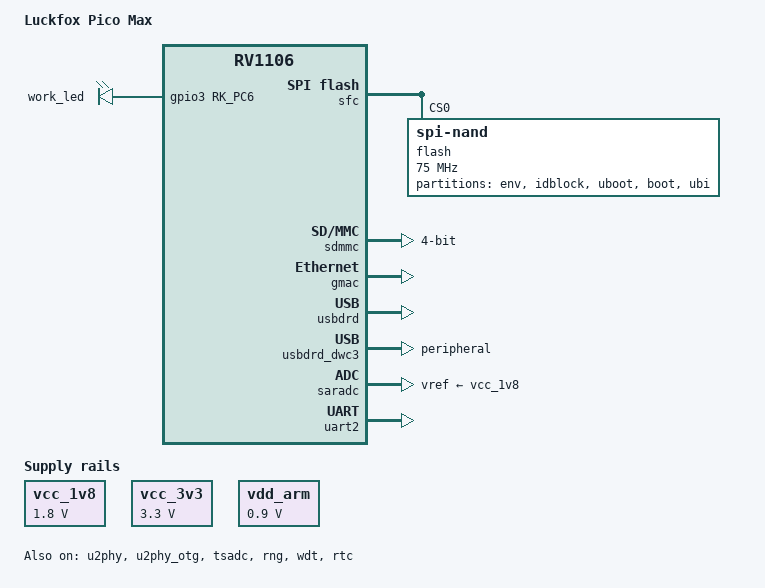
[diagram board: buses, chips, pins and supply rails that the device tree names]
// SPDX-License-Identifier: (GPL-2.0+ OR MIT)
/*
 * Luckfox Pico Max -- RV1106G3, 256MB DDR3L, 256MB SPI NAND.
 *
 * Deliberately lean: this describes the board as a general purpose Linux
 * machine, not as an IP camera. The camera/ISP/encoder half of the SoC is left
 * disabled, which is what rv1106.dtsi already does -- we simply do not include
 * rv1106-evb.dtsi or rv1106-ipc.dtsi, both of which turn it all on and pull in
 * a fixed set of sensors.
 *
 */

/dts-v1/;

#include <dt-bindings/gpio/gpio.h>
#include <dt-bindings/pinctrl/rockchip.h>
#include "rv1106.dtsi"

/ {
	model = "Luckfox Pico Max";
	compatible = "luckfox,pico-max", "rockchip,rv1106g3", "rockchip,rv1106";

	chosen {
		/*
         * sane default for the case
		 * where the DTB is booted by hand.
		 */
		bootargs = "console=ttyS2,115200n8 rootwait";
	};

	vcc_1v8: regulator-vcc-1v8 {
		compatible = "regulator-fixed";
		regulator-name = "vcc_1v8";
		regulator-min-microvolt = <1800000>;
		regulator-max-microvolt = <1800000>;
		regulator-always-on;
		regulator-boot-on;
	};

	vcc_3v3: regulator-vcc-3v3 {
		compatible = "regulator-fixed";
		regulator-name = "vcc_3v3";
		regulator-min-microvolt = <3300000>;
		regulator-max-microvolt = <3300000>;
		regulator-always-on;
		regulator-boot-on;
	};

	/*
	 * VDD_ARM. Rockchip's reference design puts a PWM-controlled buck here
	 * so that DVFS can drop the rail with the frequency and raise it for
	 * the top bins; Luckfox left the buck off the Pico Max and fitted a
	 * fixed 0.9 V supply instead.
	 *
	 * cpufreq still needs a regulator behind cpu-supply -- rockchip-cpufreq
	 * refuses to probe without one -- so describe the rail as what it is.
	 * A regulator-fixed must have min == max in 6.6, otherwise
	 * of_get_fixed_voltage_config() rejects it as "specified with variable
	 * voltages"; Luckfox's own 800000..1000000 node would not probe here.
	 *
	 * The consequence is in &cpu0_opp_table: every OPP above 1.2 GHz wants
	 * more than 0.9 V and there is nothing to raise it with.
	 */
	vdd_arm: regulator-vdd-arm {
		compatible = "regulator-fixed";
		regulator-name = "vdd_arm";
		regulator-min-microvolt = <900000>;
		regulator-max-microvolt = <900000>;
		regulator-always-on;
		regulator-boot-on;
	};

	leds {
		compatible = "gpio-leds";

		work_led: led-0 {
			gpios = <&gpio3 RK_PC6 GPIO_ACTIVE_HIGH>;
			linux,default-trigger = "heartbeat";
			default-state = "on";
			function = "activity";
		};
	};

};

/* ------------------------------------------------------------------ CPU --- */

&cpu0 {
	cpu-supply = <&vdd_arm>;
	/* cpufreq-dt registers the cpufreq cooling device off this. */
	#cooling-cells = <2>;
};

/*
 * rv1106.dtsi carries the SoC's full OPP table, up to 1.608 GHz. Everything
 * from 1.296 GHz up asks for more than the 0.9 V this board's fixed rail
 * supplies, and the OPP core would happily use them anyway: the fallback leg
 * of regulator_set_voltage_triplet() asks for the OPP's u_volt_min (850 mV for
 * every entry in this table), which a fixed 0.9 V rail satisfies. So the only
 * thing keeping the CPU inside its voltage/frequency envelope is the table
 * itself. Stop at 1.2 GHz, the fastest OPP that runs at 850 mV.
 *
 * The pvtpll properties go with them. PVTPLL calibration walks the rail up and
 * down in 12.5 mV steps while watching the ring oscillator, to find the
 * lowest voltage each >= 1.104 GHz OPP is stable at. With a rail that cannot
 * move there is nothing to search, and rockchip_pvtpll_calibrate_opp() would
 * still take the CPU to 1.104 GHz and rewrite the table's voltages on the way
 * to giving up.
 */
&cpu0_opp_table {
	/delete-property/ rockchip,pvtpll-avg-offset;
	/delete-property/ rockchip,pvtpll-min-rate;
	/delete-property/ rockchip,pvtpll-volt-step;

	/delete-node/ opp-1296000000;
	/delete-node/ opp-1416000000;
	/delete-node/ opp-1512000000;
	/delete-node/ opp-1608000000;
};

/* ---------------------------------------------------------------- flash --- */

&sfc {
	status = "okay";

	flash@0 {
		compatible = "spi-nand";
		reg = <0>;
		spi-max-frequency = <75000000>;
		spi-rx-bus-width = <4>;
		spi-tx-bus-width = <1>;

		partitions {
			compatible = "fixed-partitions";
			#address-cells = <1>;
			#size-cells = <1>;

			partition@0 { label = "env"; reg = <0x00000000 0x00040000>; };
			partition@40000 { label = "idblock"; reg = <0x00040000 0x00100000>; read-only; };
			partition@140000 { label = "uboot"; reg = <0x00140000 0x00100000>; read-only; };
			partition@240000 { label = "boot"; reg = <0x00240000 0x01000000>; };
			partition@1240000 { label = "ubi"; reg = <0x01240000 0x0edc0000>; };
		};
	};
};

&sdmmc {
	bus-width = <4>;
	cap-mmc-highspeed;
	cap-sd-highspeed;
	disable-wp;
	no-mmc;
	no-sdio;
	max-frequency = <50000000>;
	pinctrl-names = "default";
	pinctrl-0 = <&sdmmc0_clk &sdmmc0_cmd &sdmmc0_det &sdmmc0_bus4>;
	status = "okay";
};

/* ------------------------------------------------------------- ethernet --- */

/*
 * 100M, integrated PHY.
 *
 * There is no MAC address anywhere on this board to read. dwmac-rk keeps one
 * in Rockchip vendor storage, a reserved area at the end of the boot medium
 * that the factory programs; nothing ever programmed this one, and an SD card
 * written by mk-image.sh has no such area at all. The driver's answer to that
 * was eth_random_addr(), so the board took a new MAC -- and a new DHCP lease
 * -- on every boot.
 *
 * Name the OTP's 16-byte unique id, the same cell rockchip-cpuinfo hashes into
 * /proc/cpuinfo's Serial, and the patched driver derives a locally administered
 * address from it: stable for the life of the chip, distinct between chips.
 * kernel/patches/0003 has the details.
 */
&gmac {
	nvmem-cells = <&otp_id>;
	nvmem-cell-names = "soc-id";
	status = "okay";
};

/* ------------------------------------------------------------------ USB --- */

&u2phy {
	status = "okay";
};

&u2phy_otg {
	rockchip,dis-u2-susphy;
	status = "okay";
};

&usbdrd {
	status = "okay";
};

/*
 * The Type-C port is the board's only USB port and its power inlet, and the
 * connector has no ID pin -- there is no CC controller behind it either, just
 * a socket wired to the SoC's one USB 2.0 OTG controller.
 *
 * dr_mode = "otg" therefore does not mean what it looks like it means. With no
 * extcon to consult, dwc3 falls back to the OTG block's CONIDSTS bit, which
 * follows the PHY's iddig input, which nothing on this board drives; it reads
 * as grounded, dwc3 concludes it is the A-device and brings up xHCI. The port
 * then has no VBUS to offer a downstream device and no UDC for a gadget to
 * bind to, so it does nothing in either direction -- and usb_add_hcd() offers
 * the PHY PHY_MODE_USB_HOST_SS on the way past, which
 * rockchip_usb2phy_set_mode() does not handle, hence "illegal mode" in dmesg.
 *
 * Peripheral is what the hardware is, and is what Luckfox's own devicetree
 * says. It gives the gadget in luckfox-usb-gadget.service a UDC to bind to.
 * Set this to "host" instead if you power the board through the pin header and
 * want to plug devices into the Type-C.
 */
&usbdrd_dwc3 {
	dr_mode = "peripheral";
	status = "okay";
};

/* --------------------------------------------------------------- sensors --- */

&saradc {
	vref-supply = <&vcc_1v8>;
	status = "okay";
};

&tsadc {
	status = "okay";
};

/*
 * rv1106.dtsi describes the trip points but binds no cooling device to them,
 * so the passive trips did nothing and the only thermal response the SoC had
 * was the critical trip at 115 C. Hand the CPU to the step_wise governor at
 * the 85 C trip; it is the one cooling device this board has.
 */
&soc_thermal {
	cooling-maps {
		map0 {
			trip = <&target>;
			cooling-device = <&cpu0 THERMAL_NO_LIMIT THERMAL_NO_LIMIT>;
			contribution = <1024>;
		};
	};
};

/* -------------------------------------------------------------- entropy --- */

&rng {
	status = "okay";
};

/* -------------------------------------------------------------- console --- */

&uart2 {
	status = "okay";
};

&wdt {
	status = "okay";
};

&rtc {
	status = "okay";
};
